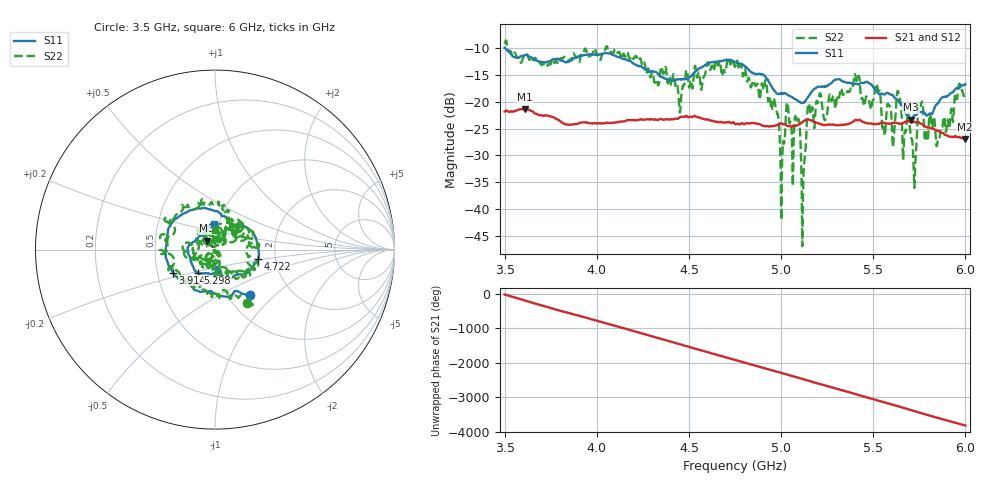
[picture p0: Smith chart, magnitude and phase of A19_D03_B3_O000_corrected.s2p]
! Created with skrf 1.9.0 (http://scikit-rf.org).
# Hz S RI R 50.0
!freq ReS11 ImS11 ReS21 ImS21 ReS12 ImS12 ReS22 ImS22
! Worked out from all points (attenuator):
!   1601 points, 3.5 GHz to 6 GHz, reference 50 ohm
!   highest |S21| = -21.37 dB at 3.611 GHz (marker M1); lowest = -27.0 dB at 5.998 GHz (marker M2)
!   lowest |S11| = -23.4 dB at 5.705 GHz (marker M3), VSWR 1.15, Z = 45.4 + j4.58 ohm
!   |S11| at or under -10 dB: 3.503 GHz to end of sweep
!   |S22| runs from -47.0 to -8.6 dB; largest |S21 - S12| = 0.001
!   S11 on the Smith chart (normalised r, x): 3.5 GHz: 1.26, -0.71; 3.914 GHz: 0.60, -0.17; 4.722 GHz: 1.62, -0.17; 5.298 GHz: 0.80, -0.22; 6 GHz: 0.94, +0.28
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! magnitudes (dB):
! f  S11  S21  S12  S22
! 3.5 GHz  -9.9  -21.8  -21.8  -9.2
! 3.611 GHz  -11.3  -21.4  -21.4  -11.9
! 3.914 GHz  -11.5  -23.9  -23.9  -11.3
! 3.917 GHz  -11.5  -23.9  -23.9  -11.0
! 4.334 GHz  -14.9  -23.4  -23.3  -16.9
! 4.722 GHz  -12.2  -23.8  -23.8  -12.7
! 4.75 GHz  -12.6  -24.2  -24.1  -13.5
! 4.967 GHz  -18.1  -24.5  -24.4  -20.4
! 5.006 GHz  -18.5  -24.1  -24.1  -30.5
! 5.034 GHz  -18.7  -24.5  -24.5  -20.2
! 5.088 GHz  -19.7  -24.4  -24.4  -23.7
! 5.12 GHz  -20.2  -23.7  -23.6  -35.2
! 5.145 GHz  -19.2  -23.3  -23.2  -20.9
! 5.167 GHz  -18.1  -23.5  -23.5  -21.1
! 5.298 GHz  -15.8  -24.4  -24.3  -20.6
! 5.584 GHz  -18.5  -24.1  -24.1  -20.6
! 5.705 GHz  -23.4  -23.8  -23.7  -26.7
! 5.723 GHz  -22.5  -23.8  -23.7  -36.1
! 5.756 GHz  -21.9  -24.1  -24.0  -20.8
! 5.852 GHz  -20.3  -25.5  -25.4  -27.3
! 5.998 GHz  -16.8  -27.0  -26.9  -19.3
! 6 GHz  -16.7  -27.0  -26.9  -19.2
